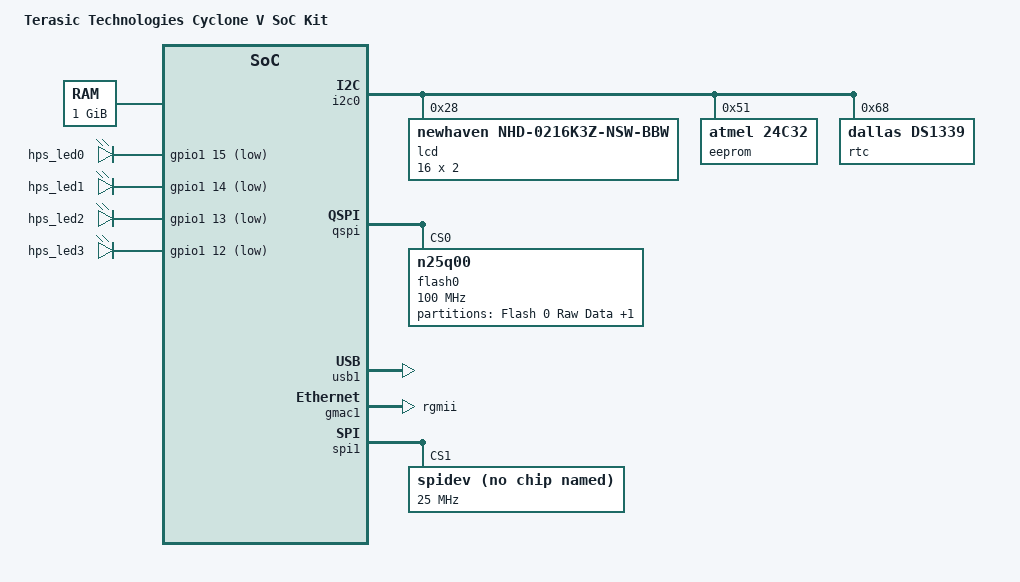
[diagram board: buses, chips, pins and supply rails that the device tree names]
/*
 *  Copyright (C) 2012 Altera Corporation <www.altera.com>
 *
 * This program is free software; you can redistribute it and/or modify
 * it under the terms of the GNU General Public License as published by
 * the Free Software Foundation; either version 2 of the License, or
 * (at your option) any later version.
 *
 * This program is distributed in the hope that it will be useful,
 * but WITHOUT ANY WARRANTY; without even the implied warranty of
 * MERCHANTABILITY or FITNESS FOR A PARTICULAR PURPOSE.  See the
 * GNU General Public License for more details.
 *
 * You should have received a copy of the GNU General Public License
 * along with this program.  If not, see <http://www.gnu.org/licenses/>.
 */

/dts-v1/;
#include <socfpga.dtsi>

/ {
	model = "Terasic Technologies Cyclone V SoC Kit";
	compatible = "altr,socfpga-sockit", "altr,socfpga";

	chosen {
		bootargs = "console=ttyS0,115200 root=/dev/mmcblk0p2 rw rootwait";
	};

	memory {
		name = "memory";
		device_type = "memory";
		reg = <0x0 0x40000000>; /* 1 GB */
	};

	aliases {
		/*
		 * this allows e.g. boot loaders to update the
		 * device tree's MAC address value with data gathered
		 * from other sources of information (fuses, eeprom,
		 * user provided specification)
		 */
		ethernet0 = &gmac1;
	};

	soc {
		clkmgr@ffd04000 {
			clocks {
				osc1 {
					clock-frequency = <25000000>;
				};
			};
		};

		dwmmc0@ff704000 {
			num-slots = <1>;
			supports-highspeed;
			broken-cd;
			altr,dw-mshc-ciu-div = <3>;
			altr,dw-mshc-sdr-timing = <0 3>;

			slot@0 {
				reg = <0>;
				bus-width = <4>;
			};
		};

		i2c0: i2c@ffc04000 {
			speed-mode = <0>;
			status = "okay";
		};

		/* XXX TODO re-check these QSPI settings */
		qspi: spi@ff705000 {
			compatible = "cadence,qspi";
			#address-cells = <1>;
			#size-cells = <0>;
			reg = <0xff705000 0x1000>,
				<0xffa00000 0x1000>;
			interrupts = <0 151 4>;
			master-ref-clk = <400000000>;
			ext-decoder = <0>;  /* external decoder */
			num-chipselect = <4>;
			fifo-depth = <128>;
			bus-num = <2>;
			dmas = <&pdma 24>, <&pdma 25>;
			dma-names = "tx", "rx";
			dma-mask = <0xffffffff>;

			flash0: n25q00@0 {
				#address-cells = <1>;
				#size-cells = <1>;
				compatible = "n25q00";
				reg = <0>;	/* chip select */
				spi-max-frequency = <100000000>;
				m25p,fast-read;
				page-size = <256>;
				block-size = <16>; /* 2^16, 64KB */
				read-delay = <4>;  /* delay value in read data capture register */
				tshsl-ns = <50>;
				tsd2d-ns = <50>;
				tchsh-ns = <4>;
				tslch-ns = <4>;

				partition@qspi-boot {
					/* 8MB for raw data. */
					label = "Flash 0 Raw Data";
					reg = <0x0 0x800000>;
				};

				partition@qspi-rootfs {
					/* 120MB for jffs2 data. */
					label = "Flash 0 jffs2 Filesystem";
					reg = <0x800000 0x7800000>;
				};
			};
		};

		/* XXX TODO re-check these timer settings */
		timer0@ffc08000 {
			clock-frequency = <100000000>;
		};

		timer1@ffc09000 {
			clock-frequency = <100000000>;
		};

		timer2@ffd00000 {
			clock-frequency = <25000000>;
		};

		timer3@ffd01000 {
			clock-frequency = <25000000>;
		};

		/* XXX TODO re-check these serial settings */
		serial0@ffc02000 {
			clock-frequency = <100000000>;
		};

		serial1@ffc03000 {
			clock-frequency = <100000000>;
		};

		/* XXX TODO re-check these sysmgr settings */
		sysmgr@ffd08000 {
			cpu1-start-addr = <0xffd080c4>;
		};

		/* XXX TODO re-check these USB settings */
		usb1: usb@ffb40000 {
			ulpi-ddr = <0>;
			status = "okay";
		};

		watchdog0: wd@ffd02000 {
			status = "okay";
		};

		/* XXX TODO re-check these GPIO settings */
		leds {
			compatible = "gpio-leds";

			hps0 {
				label = "hps_led0";
				gpios = <&gpio1 15 1>;
			};

			hps1 {
				label = "hps_led1";
				gpios = <&gpio1 14 1>;
			};

			hps2 {
				label = "hps_led2";
				gpios = <&gpio1 13 1>;
			};

			hps3 {
				label = "hps_led3";
				gpios = <&gpio1 12 1>;
			};
		/* XXX TODO provide FPGA attached LEDs as well? */
		};
	};
};

&i2c0 {
	lcd: lcd@28 {
		compatible = "newhaven,nhd-0216k3z-nsw-bbw";
		reg = <0x28>;
		height = <2>;
		width = <16>;
		brightness = <8>;
	};

	eeprom@51 {
		compatible = "atmel,24c32";
		reg = <0x51>;
		pagesize = <32>;
	};

	rtc@68 {
		compatible = "dallas,ds1339";
		reg = <0x68>;
	};
};

/* XXX TODO provide the SPI attached display */
/* XXX TODO provide the SPI/I2C(?) attached accelerometer */
/* XXX TODO provide the IR receiver */
/* XXX TODO provide the GPIO attached buttons/switches */

&gmac1 {
	phy-mode = "rgmii";
	snps,phy-addr = <0xffffffff>; /* probe for phy addr */
	rxd0-skew-ps = <0>;
	rxd1-skew-ps = <0>;
	rxd2-skew-ps = <0>;
	rxd3-skew-ps = <0>;
	txen-skew-ps = <0>;
	txc-skew-ps = <2600>;
	rxdv-skew-ps = <0>;
	rxc-skew-ps = <2000>;
	snps,max-mtu = <4062>;
	status = "okay";
};

&spi1 {
	/* XXX shall replace the tx-dma-channel et al stuff */
	dmas = <&pdma 20>, <&pdma 21>;
	dma-names = "tx", "rx";
	status = "okay";

	spidev@1 {
		compatible = "spidev";
		reg = <1>;	/* chip select */
		spi-max-frequency = <25000000>;
	};
};
